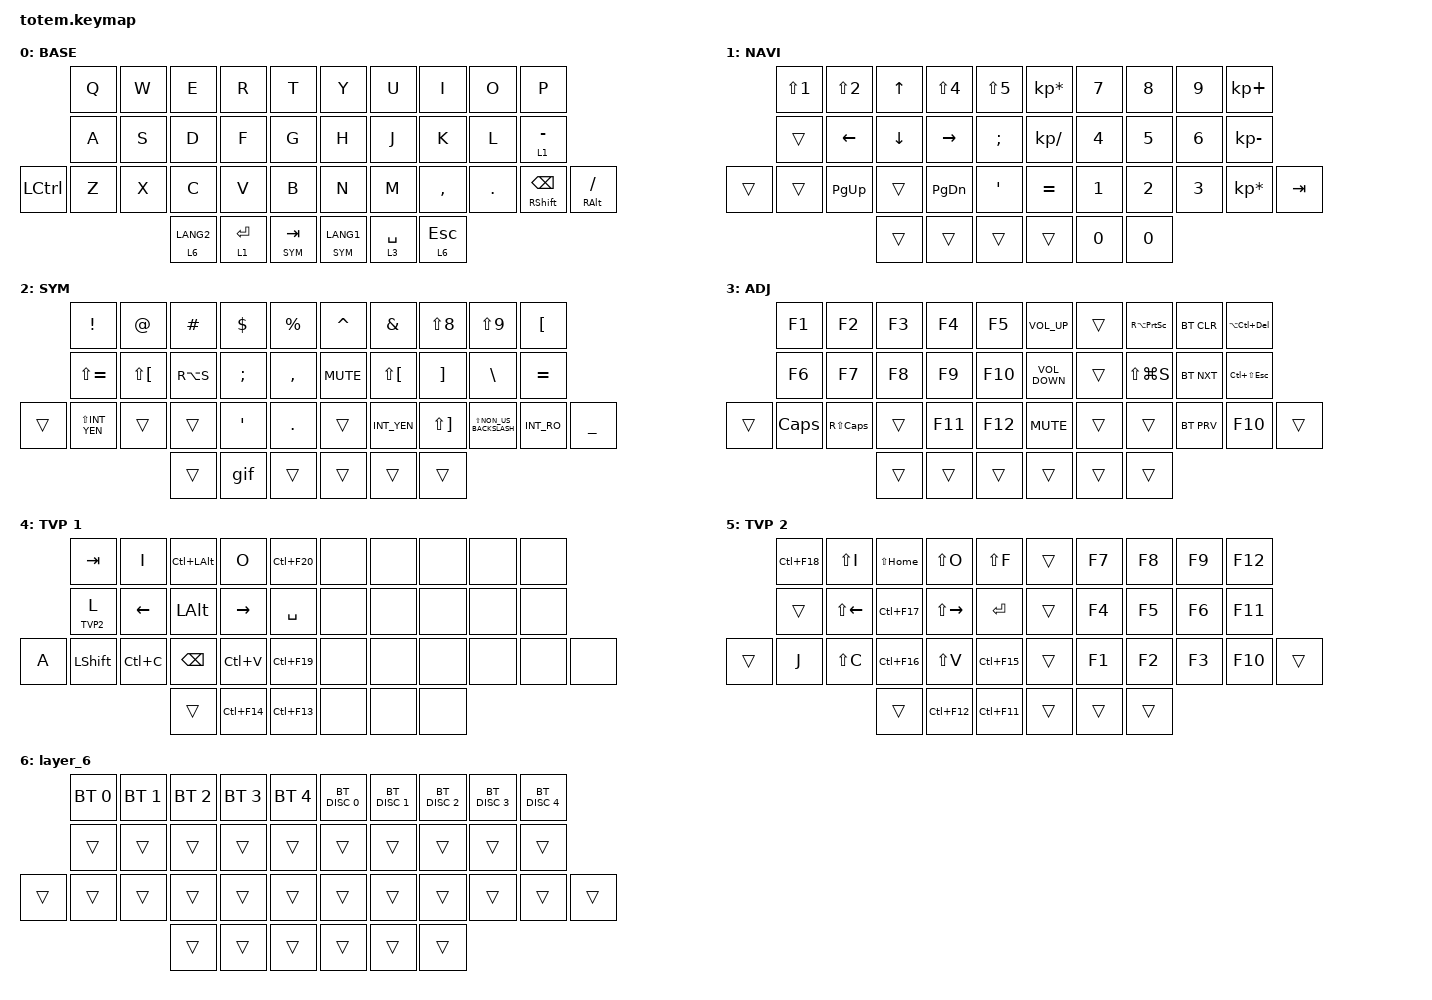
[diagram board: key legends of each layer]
//
//                                                        ▀▀▀▀▀     ▀▀▀▀▀          ▀▀█▀▀
//                                                        ▄▀▀▀▄  ▄  ▄▀▀▀▄  ▄  ▄▀▀▀▄  █  ▄▀▀▀▄
//                                                        █   █  █  █   █  █  █   █  █  █   █
//                                                         ▀▀▀   █   ▀▀▀   █   ▀▀▀   ▀   ▀▀▀
//                                                               █      ▄▄▄█▄▄▄    █   █  
//                                                               ▀      █  █  █     █▄█
//                                                             ▀▀▀▀▀    █  █  █      ▀
//                                                                      ▀  ▀  ▀
//
// ▄▄▄▄▄▄▄▄▄▄▄▄▄▄▄▄▄▄▄▄▄▄▄▄▄▄▄▄▄▄▄▄▄▄▄▄▄▄▄▄▄▄▄▄▄▄▄▄▄▄▄▄▄▄▄▄▄▄▄▄▄▄▄▄▄▄▄▄▄▄▄▄▄▄▄▄▄▄▄▄▄▄▄▄▄▄▄▄▄▄▄▄▄▄▄▄▄▄▄▄▄▄▄▄▄▄▄▄▄▄▄▄▄▄▄▄▄▄▄▄▄▄▄▄▄▄▄▄▄▄▄▄▄▄▄▄▄▄▄▄▄▄▄▄▄▄▄▄▄

#include <behaviors.dtsi>
#include <dt-bindings/zmk/bt.h>
#include <dt-bindings/zmk/keys.h>

#define BASE 0
#define NAV  1
#define SYM  2
#define ADJ  3
#define TVP1 4
#define TVP2 5

&mt {
    quick-tap-ms = <100>;
    global-quick-tap;
    flavor = "tap-preferred";
    tapping-term-ms = <170>;
    quick-tap-ms = <200>;
};

/ {
    combos {
        compatible = "zmk,combos";

        combo_esc {
            timeout-ms = <32>;
            key-positions = <1 2>;
            bindings = <&kp ESC>;
            layers = <0>;
        };

        ZH {
            bindings = <&kp GRAVE>;
            key-positions = <11 12>;
            timeout-ms = <32>;
            layers = <0>;
        };

        del {
            bindings = <&kp DELETE>;
            key-positions = <17 18>;
            timeout-ms = <32>;
            layers = <0>;
        };

        ins {
            bindings = <&kp INS>;
            key-positions = <7 8>;
            timeout-ms = <32>;
            layers = <0>;
        };

        sysreset {
            bindings = <&sys_reset>;
            key-positions = <23 24>;
            timeout-ms = <32>;
            layers = <2>;
        };

        win {
            bindings = <&kp LEFT_WIN>;
            key-positions = <21 22>;
            timeout-ms = <32>;
            layers = <0>;
        };

        alt {
            bindings = <&kp LEFT_ALT>;
            key-positions = <10 11>;
            timeout-ms = <32>;
            layers = <0>;
        };

        rwin {
            bindings = <&kp LEFT_WIN>;
            key-positions = <30 29>;
            timeout-ms = <32>;
            layers = <0>;
        };

        ralt {
            bindings = <&kp LEFT_ALT>;
            key-positions = <18 19>;
            timeout-ms = <32>;
            layers = <0>;
        };
    };

    macros {
        gif: gif {
            label = "giphy";
            compatible = "zmk,behavior-macro";
            #binding-cells = <0>;
            bindings =
                <&macro_press>,
                <&kp LSHFT>,
                <&macro_tap>,
                <&kp N2>,
                <&macro_release>,
                <&kp LSHFT>,
                <&macro_tap>,
                <&kp G &kp I &kp F>;
        };
    };

    keymap {
        compatible = "zmk,keymap";

        // ▄▄▄▄▄▄▄▄▄▄▄▄▄▄▄▄▄▄▄▄▄▄▄▄▄▄▄▄▄▄▄▄▄▄▄▄▄▄▄▄▄▄▄▄▄▄▄▄▄▄▄▄▄▄▄▄▄▄▄▄▄▄▄▄▄▄▄▄▄▄▄▄▄▄▄▄▄▄▄▄▄▄▄▄▄▄▄▄▄▄▄▄▄▄▄▄▄▄▄▄▄▄▄▄▄▄▄▄▄▄▄▄▄▄▄▄▄▄▄▄▄▄▄▄▄▄▄▄▄▄▄▄▄▄▄▄▄▄▄▄▄▄▄▄▄▄▄▄▄

        base_layer {
            // ┏━━━━━━━━━━━━━━━━━━━━━━━━━━━━━━━━━━━━━━━┓

            label = "BASE";

            // ┗━━━━━━━━━━━━━━━━━━━━━━━━━━━━━━━━━━━━━━━┛
            //             ┏━━━━━━━━━━━┳━━━━━━━━━━━┳━━━━━━━━━━━┳━━━━━━━━━━━┳━━━━━━━━━━━┓   ┏━━━━━━━━━━━┳━━━━━━━━━━━┳━━━━━━━━━━━┳━━━━━━━━━━━┳━━━━━━━━━━━┓
            //             ┃     Q     ┃     W     ┃     F     ┃     P     ┃     G     ┃   ┃     J     ┃     L     ┃     U     ┃     Y     ┃     ;     ┃
            //             ┣━━━━━━━━━━━╋━━━━━━━━━━━╋━━━━━━━━━━━╋━━━━━━━━━━━╋━━━━━━━━━━━┫   ┣━━━━━━━━━━━╋━━━━━━━━━━━╋━━━━━━━━━━━╋━━━━━━━━━━━╋━━━━━━━━━━━┫
            //             ┃     A     ┃     R     ┃     S     ┃     T     ┃     D     ┃   ┃     H     ┃     N     ┃     E     ┃     I     ┃     O     ┃
            // ┏━━━━━━━━━━━╋━━━━━━━━━━━╋━━━━━━━━━━━╋━━━━━━━━━━━╋━━━━━━━━━━━╋━━━━━━━━━━━┫   ┣━━━━━━━━━━━╋━━━━━━━━━━━╋━━━━━━━━━━━╋━━━━━━━━━━━╋━━━━━━━━━━━╋━━━━━━━━━━━┓
            // ┃     Q     ┃     Z     ┃     X     ┃     C     ┃     V     ┃     B     ┃   ┃     K     ┃     M     ┃     ,     ┃     .     ┃     /     ┃     \     ┃
            // ┗━━━━━━━━━━━┻━━━━━━━━━━━┻━━━━━━━━━━━╋━━━━━━━━━━━╋━━━━━━━━━━━╋━━━━━━━━━━━┫   ┣━━━━━━━━━━━╋━━━━━━━━━━━╋━━━━━━━━━━━╋━━━━━━━━━━━┻━━━━━━━━━━━┻━━━━━━━━━━━┛
            //                                     ┃    DEL    ┃    TAB    ┃    SPC    ┃   ┃   ENTER   ┃           ┃   BSPC    ┃
            //                                     ┗━━━━━━━━━━━┻━━━━━━━━━━━┻━━━━━━━━━━━┛   ┗━━━━━━━━━━━┻━━━━━━━━━━━┻━━━━━━━━━━━┛

            bindings = <
           &kp Q  &kp W  &kp E        &kp R      &kp T          &kp Y          &kp U        &kp I      &kp O    &kp P
           &kp A  &kp S  &kp D        &kp F      &kp G          &kp H          &kp J        &kp K      &kp L    &lt 1 MINUS
&kp LCTRL  &kp Z  &kp X  &kp C        &kp V      &kp B          &kp N          &kp M        &kp COMMA  &kp DOT  &mt RIGHT_SHIFT BACKSPACE  &mt RIGHT_ALT SLASH
                         &lt 6 LANG2  &lt 1 RET  &lt SYM TAB    &lt SYM LANG1  &lt 3 SPACE  &lt 6 ESC
            >;
        };

        // ▄▄▄▄▄▄▄▄▄▄▄▄▄▄▄▄▄▄▄▄▄▄▄▄▄▄▄▄▄▄▄▄▄▄▄▄▄▄▄▄▄▄▄▄▄▄▄▄▄▄▄▄▄▄▄▄▄▄▄▄▄▄▄▄▄▄▄▄▄▄▄▄▄▄▄▄▄▄▄▄▄▄▄▄▄▄▄▄▄▄▄▄▄▄▄▄▄▄▄▄▄▄▄▄▄▄▄▄▄▄▄▄▄▄▄▄▄▄▄▄▄▄▄▄▄▄▄▄▄▄▄▄▄▄▄▄▄▄▄▄▄▄▄▄▄▄▄▄▄

        nav_layer {
            // ┏━━━━━━━━━━━━━━━━━━━━━━━━━━━━━━━━━━━━━━━┓

            label = "NAVI";

            // ┗━━━━━━━━━━━━━━━━━━━━━━━━━━━━━━━━━━━━━━━┛
            //             ┏━━━━━━━━━━━┳━━━━━━━━━━━┳━━━━━━━━━━━┳━━━━━━━━━━━┳━━━━━━━━━━━┓   ┏━━━━━━━━━━━┳━━━━━━━━━━━┳━━━━━━━━━━━┳━━━━━━━━━━━┳━━━━━━━━━━━┓
            //             ┃           ┃           ┃     UP    ┃           ┃     {     ┃   ┃     }     ┃     7     ┃     8     ┃     9     ┃     +     ┃
            //             ┣━━━━━━━━━━━╋━━━━━━━━━━━╋━━━━━━━━━━━╋━━━━━━━━━━━╋━━━━━━━━━━━┫   ┣━━━━━━━━━━━╋━━━━━━━━━━━╋━━━━━━━━━━━╋━━━━━━━━━━━╋━━━━━━━━━━━┫
            //             ┃   SHIFT   ┃   LEFT    ┃    DOWN   ┃   RIGHT   ┃     [     ┃   ┃     ]     ┃     4     ┃     5     ┃     6     ┃     -     ┃
            // ┏━━━━━━━━━━━╋━━━━━━━━━━━╋━━━━━━━━━━━╋━━━━━━━━━━━╋━━━━━━━━━━━╋━━━━━━━━━━━┫   ┣━━━━━━━━━━━╋━━━━━━━━━━━╋━━━━━━━━━━━╋━━━━━━━━━━━╋━━━━━━━━━━━╋━━━━━━━━━━━┓
            // ┃           ┃           ┃   P UP    ┃  C LOCK   ┃  P DOWN   ┃     (     ┃   ┃     )     ┃     1     ┃     2     ┃     3     ┃     *     ┃           ┃
            // ┗━━━━━━━━━━━┻━━━━━━━━━━━┻━━━━━━━━━━━╋━━━━━━━━━━━╋━━━━━━━━━━━╋━━━━━━━━━━━┫   ┣━━━━━━━━━━━╋━━━━━━━━━━━╋━━━━━━━━━━━╋━━━━━━━━━━━┻━━━━━━━━━━━┻━━━━━━━━━━━┛
            //                                     ┃           ┃    TAB    ┃    SPC    ┃   ┃    DEL    ┃     0     ┃           ┃
            //                                     ┗━━━━━━━━━━━┻━━━━━━━━━━━┻━━━━━━━━━━━┛   ┗━━━━━━━━━━━┻━━━━━━━━━━━┻━━━━━━━━━━━┛

            bindings = <
        &kp LS(NUMBER_1)  &kp LS(NUMBER_2)  &kp UP    &kp LS(NUMBER_4)  &kp LS(N5)          &kp KP_ASTERISK  &kp NUMBER_7  &kp NUMBER_8  &kp NUMBER_9  &kp KP_PLUS
        &trans            &kp LEFT          &kp DOWN  &kp RIGHT         &kp SEMI            &kp KP_DIVIDE    &kp NUMBER_4  &kp NUMBER_5  &kp NUMBER_6  &kp KP_MINUS
&trans  &trans            &kp PG_UP         &trans    &kp PG_DN         &kp SINGLE_QUOTE    &kp EQUAL        &kp NUMBER_1  &kp NUMBER_2  &kp NUMBER_3  &kp KP_MULTIPLY  &kp TAB
                                            &trans    &trans            &trans              &trans           &kp NUMBER_0  &kp NUMBER_0
            >;
        };

        // ▄▄▄▄▄▄▄▄▄▄▄▄▄▄▄▄▄▄▄▄▄▄▄▄▄▄▄▄▄▄▄▄▄▄▄▄▄▄▄▄▄▄▄▄▄▄▄▄▄▄▄▄▄▄▄▄▄▄▄▄▄▄▄▄▄▄▄▄▄▄▄▄▄▄▄▄▄▄▄▄▄▄▄▄▄▄▄▄▄▄▄▄▄▄▄▄▄▄▄▄▄▄▄▄▄▄▄▄▄▄▄▄▄▄▄▄▄▄▄▄▄▄▄▄▄▄▄▄▄▄▄▄▄▄▄▄▄▄▄▄▄▄▄▄▄▄▄▄▄

        sim_layer {
            // ┏━━━━━━━━━━━━━━━━━━━━━━━━━━━━━━━━━━━━━━━┓

            label = "SYM";

            // ┗━━━━━━━━━━━━━━━━━━━━━━━━━━━━━━━━━━━━━━━┛
            //             ┏━━━━━━━━━━━┳━━━━━━━━━━━┳━━━━━━━━━━━┳━━━━━━━━━━━┳━━━━━━━━━━━┓   ┏━━━━━━━━━━━┳━━━━━━━━━━━┳━━━━━━━━━━━┳━━━━━━━━━━━┳━━━━━━━━━━━┓
            //             ┃     !     ┃     @     ┃     #     ┃     $     ┃     %     ┃   ┃     ˆ     ┃     &     ┃     Ü     ┃     '     ┃     "     ┃
            //             ┣━━━━━━━━━━━╋━━━━━━━━━━━╋━━━━━━━━━━━╋━━━━━━━━━━━╋━━━━━━━━━━━┫   ┣━━━━━━━━━━━╋━━━━━━━━━━━╋━━━━━━━━━━━╋━━━━━━━━━━━╋━━━━━━━━━━━┫
            //             ┃     Ä     ┃           ┃    SZ     ┃           ┃           ┃   ┃   MUTE    ┃   YEN     ┃   EURO    ┃  POUND    ┃     Ö     ┃
            // ┏━━━━━━━━━━━╋━━━━━━━━━━━╋━━━━━━━━━━━╋━━━━━━━━━━━╋━━━━━━━━━━━╋━━━━━━━━━━━┫   ┣━━━━━━━━━━━╋━━━━━━━━━━━╋━━━━━━━━━━━╋━━━━━━━━━━━╋━━━━━━━━━━━╋━━━━━━━━━━━┓
            // ┃           ┃  EMAIL1   ┃  EMAIL2   ┃           ┃           ┃           ┃   ┃   VOL-    ┃   VOL+    ┃   LAST    ┃   NEXT    ┃     \     ┃           ┃
            // ┗━━━━━━━━━━━┻━━━━━━━━━━━┻━━━━━━━━━━━╋━━━━━━━━━━━╋━━━━━━━━━━━╋━━━━━━━━━━━┫   ┣━━━━━━━━━━━╋━━━━━━━━━━━╋━━━━━━━━━━━╋━━━━━━━━━━━┻━━━━━━━━━━━┻━━━━━━━━━━━┛
            //                                     ┃           ┃    GIF    ┃    ADJ    ┃   ┃           ┃           ┃           ┃
            //                                     ┗━━━━━━━━━━━┻━━━━━━━━━━━┻━━━━━━━━━━━┛   ┗━━━━━━━━━━━┻━━━━━━━━━━━┻━━━━━━━━━━━┛

            bindings = <
        &kp EXCL         &kp AT                &kp HASH   &kp DLLR          &kp PRCNT     &kp CARET   &kp AMPS              &kp LS(N8)    &kp LS(N9)                &kp LBKT
        &kp LS(EQUAL)    &kp LS(LEFT_BRACKET)  &kp RA(S)  &kp SEMI          &kp COMMA     &kp C_MUTE  &kp LS(LEFT_BRACKET)  &kp RBKT      &kp BACKSLASH             &kp EQUAL
&trans  &kp LS(INT_YEN)  &trans                &trans     &kp SINGLE_QUOTE  &kp PERIOD    &trans      &kp INT_YEN           &kp LS(RBKT)  &kp LS(NON_US_BACKSLASH)  &kp INT_RO  &kp UNDERSCORE
                                               &trans     &gif              &trans        &trans      &trans                &trans
            >;
        };

        // ▄▄▄▄▄▄▄▄▄▄▄▄▄▄▄▄▄▄▄▄▄▄▄▄▄▄▄▄▄▄▄▄▄▄▄▄▄▄▄▄▄▄▄▄▄▄▄▄▄▄▄▄▄▄▄▄▄▄▄▄▄▄▄▄▄▄▄▄▄▄▄▄▄▄▄▄▄▄▄▄▄▄▄▄▄▄▄▄▄▄▄▄▄▄▄▄▄▄▄▄▄▄▄▄▄▄▄▄▄▄▄▄▄▄▄▄▄▄▄▄▄▄▄▄▄▄▄▄▄▄▄▄▄▄▄▄▄▄▄▄▄▄▄▄▄▄▄▄▄

        adjust_layer {
            // ┏━━━━━━━━━━━━━━━━━━━━━━━━━━━━━━━━━━━━━━━┓

            label = "ADJ";

            // ┗━━━━━━━━━━━━━━━━━━━━━━━━━━━━━━━━━━━━━━━┛
            //             ┏━━━━━━━━━━━┳━━━━━━━━━━━┳━━━━━━━━━━━┳━━━━━━━━━━━┳━━━━━━━━━━━┓   ┏━━━━━━━━━━━┳━━━━━━━━━━━┳━━━━━━━━━━━┳━━━━━━━━━━━┳━━━━━━━━━━━┓
            //             ┃   RESET   ┃ BT CLEAR  ┃  OUT TOG  ┃           ┃           ┃   ┃           ┃    F7     ┃    F8     ┃    F9     ┃    F12    ┃
            //             ┣━━━━━━━━━━━╋━━━━━━━━━━━╋━━━━━━━━━━━╋━━━━━━━━━━━╋━━━━━━━━━━━┫   ┣━━━━━━━━━━━╋━━━━━━━━━━━╋━━━━━━━━━━━╋━━━━━━━━━━━╋━━━━━━━━━━━┫
            //             ┃ BOOTLOAD  ┃ BT NEXT   ┃           ┃           ┃           ┃   ┃           ┃    F4     ┃    F5     ┃    F6     ┃    F11    ┃
            // ┏━━━━━━━━━━━╋━━━━━━━━━━━╋━━━━━━━━━━━╋━━━━━━━━━━━╋━━━━━━━━━━━╋━━━━━━━━━━━┫   ┣━━━━━━━━━━━╋━━━━━━━━━━━╋━━━━━━━━━━━╋━━━━━━━━━━━╋━━━━━━━━━━━╋━━━━━━━━━━━┓
            // ┃           ┃           ┃ BT PREV   ┃           ┃           ┃           ┃   ┃           ┃    F1     ┃    F2     ┃    F3     ┃    F10    ┃           ┃
            // ┗━━━━━━━━━━━┻━━━━━━━━━━━┻━━━━━━━━━━━╋━━━━━━━━━━━╋━━━━━━━━━━━╋━━━━━━━━━━━┫   ┣━━━━━━━━━━━╋━━━━━━━━━━━╋━━━━━━━━━━━╋━━━━━━━━━━━┻━━━━━━━━━━━┻━━━━━━━━━━━┛
            //                                     ┃           ┃           ┃           ┃   ┃           ┃           ┃           ┃
            //                                     ┗━━━━━━━━━━━┻━━━━━━━━━━━┻━━━━━━━━━━━┛   ┗━━━━━━━━━━━┻━━━━━━━━━━━┻━━━━━━━━━━━┛

            bindings = <
        &kp F1        &kp F2            &kp F3  &kp F4   &kp F5     &kp C_VOL_UP       &trans  &kp RA(PRINTSCREEN)  &bt BT_CLR  &kp LA(LC(DELETE))
        &kp F6        &kp F7            &kp F8  &kp F9   &kp F10    &kp C_VOLUME_DOWN  &trans  &kp LS(LG(S))        &bt BT_NXT  &kp LC(LS(ESCAPE))
&trans  &kp CAPSLOCK  &kp RS(CAPSLOCK)  &trans  &kp F11  &kp F12    &kp C_MUTE         &trans  &trans               &bt BT_PRV  &kp F10             &trans
                                        &trans  &trans   &trans     &trans             &trans  &trans
            >;
        };

        // ▄▄▄▄▄▄▄▄▄▄▄▄▄▄▄▄▄▄▄▄▄▄▄▄▄▄▄▄▄▄▄▄▄▄▄▄▄▄▄▄▄▄▄▄▄▄▄▄▄▄▄▄▄▄▄▄▄▄▄▄▄▄▄▄▄▄▄▄▄▄▄▄▄▄▄▄▄▄▄▄▄▄▄▄▄▄▄▄▄▄▄▄▄▄▄▄▄▄▄▄▄▄▄▄▄▄▄▄▄▄▄▄▄▄▄▄▄▄▄▄▄▄▄▄▄▄▄▄▄▄▄▄▄▄▄▄▄▄▄▄▄▄▄▄▄▄▄▄▄

        tvp1_layer {
            // ┏━━━━━━━━━━━━━━━━━━━━━━━━━━━━━━━━━━━━━━━┓

            label = "TVP 1";

            // ┗━━━━━━━━━━━━━━━━━━━━━━━━━━━━━━━━━━━━━━━┛
            //             ┏━━━━━━━━━━━┳━━━━━━━━━━━┳━━━━━━━━━━━┳━━━━━━━━━━━┳━━━━━━━━━━━┓   ┏━━━━━━━━━━━┳━━━━━━━━━━━┳━━━━━━━━━━━┳━━━━━━━━━━━┳━━━━━━━━━━━┓
            //             ┃ NEXT FILE ┃ MARK IN   ┃ ROTATE    ┃ MARK OUT  ┃ SHOW SNAP ┃   ┃           ┃           ┃           ┃           ┃           ┃
            //             ┣━━━━━━━━━━━╋━━━━━━━━━━━╋━━━━━━━━━━━╋━━━━━━━━━━━╋━━━━━━━━━━━┫   ┣━━━━━━━━━━━╋━━━━━━━━━━━╋━━━━━━━━━━━╋━━━━━━━━━━━╋━━━━━━━━━━━┫
            //             ┃ TVP II    ┃ LEFT      ┃ PAN       ┃ RIGHT     ┃ PLAY/FLIP ┃   ┃           ┃           ┃           ┃           ┃           ┃
            // ┏━━━━━━━━━━━╋━━━━━━━━━━━╋━━━━━━━━━━━╋━━━━━━━━━━━╋━━━━━━━━━━━╋━━━━━━━━━━━┫   ┣━━━━━━━━━━━╋━━━━━━━━━━━╋━━━━━━━━━━━╋━━━━━━━━━━━╋━━━━━━━━━━━╋━━━━━━━━━━━┓
            // ┃ FULLSCR   ┃ SHIFT     ┃ COPY      ┃ DELETE    ┃ PASTE     ┃ IMG MARK  ┃   ┃           ┃           ┃           ┃           ┃           ┃           ┃
            // ┗━━━━━━━━━━━┻━━━━━━━━━━━┻━━━━━━━━━━━╋━━━━━━━━━━━╋━━━━━━━━━━━╋━━━━━━━━━━━┫   ┣━━━━━━━━━━━╋━━━━━━━━━━━╋━━━━━━━━━━━╋━━━━━━━━━━━┻━━━━━━━━━━━┻━━━━━━━━━━━┛
            //                                     ┃           ┃ UNDO/SAVE ┃  SEL/MOV  ┃   ┃           ┃           ┃           ┃
            //                                     ┗━━━━━━━━━━━┻━━━━━━━━━━━┻━━━━━━━━━━━┛   ┗━━━━━━━━━━━┻━━━━━━━━━━━┻━━━━━━━━━━━┛

            bindings = <
       &kp TAB     &kp I      &kp LC(LALT)  &kp O        &kp LC(F20)    &none  &none  &none  &none  &none
       &lt TVP2 L  &kp LEFT   &kp LALT      &kp RIGHT    &kp SPACE      &none  &none  &none  &none  &none
&kp A  &kp LSHFT   &kp LC(C)  &kp BSPC      &kp LC(V)    &kp LC(F19)    &none  &none  &none  &none  &none  &none
                              &trans        &kp LC(F14)  &kp LC(F13)    &none  &none  &none
            >;
        };

        // ▄▄▄▄▄▄▄▄▄▄▄▄▄▄▄▄▄▄▄▄▄▄▄▄▄▄▄▄▄▄▄▄▄▄▄▄▄▄▄▄▄▄▄▄▄▄▄▄▄▄▄▄▄▄▄▄▄▄▄▄▄▄▄▄▄▄▄▄▄▄▄▄▄▄▄▄▄▄▄▄▄▄▄▄▄▄▄▄▄▄▄▄▄▄▄▄▄▄▄▄▄▄▄▄▄▄▄▄▄▄▄▄▄▄▄▄▄▄▄▄▄▄▄▄▄▄▄▄▄▄▄▄▄▄▄▄▄▄▄▄▄▄▄▄▄▄▄▄▄

        tvp2_layer {
            // ┏━━━━━━━━━━━━━━━━━━━━━━━━━━━━━━━━━━━━━━━┓

            label = "TVP 2";

            // ┗━━━━━━━━━━━━━━━━━━━━━━━━━━━━━━━━━━━━━━━┛
            //             ┏━━━━━━━━━━━┳━━━━━━━━━━━┳━━━━━━━━━━━┳━━━━━━━━━━━┳━━━━━━━━━━━┓   ┏━━━━━━━━━━━┳━━━━━━━━━━━┳━━━━━━━━━━━┳━━━━━━━━━━━┳━━━━━━━━━━━┓
            //             ┃ SOLO      ┃ TOGGLE IN ┃ RESET ROT ┃ TOGGLE OUT┃ TAKE SNAP ┃   ┃           ┃           ┃           ┃           ┃           ┃
            //             ┣━━━━━━━━━━━╋━━━━━━━━━━━╋━━━━━━━━━━━╋━━━━━━━━━━━╋━━━━━━━━━━━┫   ┣━━━━━━━━━━━╋━━━━━━━━━━━╋━━━━━━━━━━━╋━━━━━━━━━━━╋━━━━━━━━━━━┫
            //             ┃ ---       ┃ LAST KEY  ┃ NEW KEY   ┃ NEXT KEY  ┃ ENTER     ┃   ┃           ┃           ┃           ┃           ┃           ┃
            // ┏━━━━━━━━━━━╋━━━━━━━━━━━╋━━━━━━━━━━━╋━━━━━━━━━━━╋━━━━━━━━━━━╋━━━━━━━━━━━┫   ┣━━━━━━━━━━━╋━━━━━━━━━━━╋━━━━━━━━━━━╋━━━━━━━━━━━╋━━━━━━━━━━━╋━━━━━━━━━━━┓
            // ┃           ┃ FULLSCR   ┃ CPY2BRUSH ┃ DEL HEAD  ┃ PSTinPLACE┃ BOOK MARK ┃   ┃           ┃           ┃           ┃           ┃           ┃           ┃
            // ┗━━━━━━━━━━━┻━━━━━━━━━━━┻━━━━━━━━━━━╋━━━━━━━━━━━╋━━━━━━━━━━━╋━━━━━━━━━━━┫   ┣━━━━━━━━━━━╋━━━━━━━━━━━╋━━━━━━━━━━━╋━━━━━━━━━━━┻━━━━━━━━━━━┻━━━━━━━━━━━┛
            //                                     ┃           ┃ REDO/SAV1 ┃TRANS/WARP ┃   ┃           ┃           ┃           ┃
            //                                     ┗━━━━━━━━━━━┻━━━━━━━━━━━┻━━━━━━━━━━━┛   ┗━━━━━━━━━━━┻━━━━━━━━━━━┻━━━━━━━━━━━┛

            bindings = <
        &kp LC(F18)  &kp LS(I)     &kp LS(HOME)  &kp LS(O)      &kp LS(F)      &trans  &kp F7  &kp F8  &kp F9  &kp F12
        &trans       &kp LS(LEFT)  &kp LC(F17)   &kp LS(RIGHT)  &kp RET        &trans  &kp F4  &kp F5  &kp F6  &kp F11
&trans  &kp J        &kp LS(C)     &kp LC(F16)   &kp LS(V)      &kp LC(F15)    &trans  &kp F1  &kp F2  &kp F3  &kp F10  &trans
                                   &trans        &kp LC(F12)    &kp LC(F11)    &trans  &trans  &trans
            >;
        };

        layer_6 {
            bindings = <
        &bt BT_SEL 0  &bt BT_SEL 1  &bt BT_SEL 2  &bt BT_SEL 3  &bt BT_SEL 4    &bt BT_DISC 0  &bt BT_DISC 1  &bt BT_DISC 2  &bt BT_DISC 3  &bt BT_DISC 4
        &trans        &trans        &trans        &trans        &trans          &trans         &trans         &trans         &trans         &trans
&trans  &trans        &trans        &trans        &trans        &trans          &trans         &trans         &trans         &trans         &trans         &trans
                                    &trans        &trans        &trans          &trans         &trans         &trans
            >;
        };
    };
};
